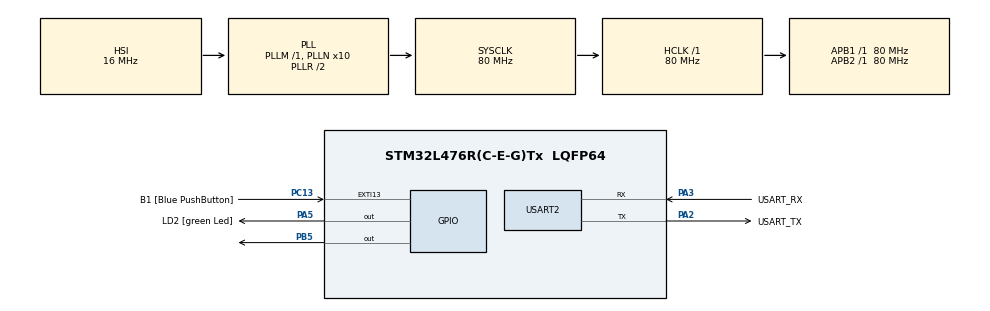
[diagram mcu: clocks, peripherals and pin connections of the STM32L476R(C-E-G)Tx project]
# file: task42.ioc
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FREERTOS.Events01=printDhtEvent,Dynamic,NULL;printDelay,Dynamic,NULL
FREERTOS.Tasks01=defaultTask,24,128,StartDefaultTask,Default,NULL,Dynamic,NULL,NULL;DhtTask,40,128,Entry_DhtTask,As external,NULL,Dynamic,NULL,NULL;delayTask,24,128,Entry_delayTask,As external,NULL,Dynamic,NULL,NULL;printTask,24,256,Entry_printTask,As external,NULL,Dynamic,NULL,NULL;blinkTask,24,128,Entry_blinkTask,As external,&ledB,Dynamic,NULL,NULL;delayTask2,24,128,Entry_delayTask2,As external,NULL,Dynamic,NULL,NULL;delayTask3,24,128,Entry_delayTask3,As external,NULL,Dynamic,NULL,NULL;printTask2,24,256,Entry_printTask2,As external,NULL,Dynamic,NULL,NULL
FREERTOS.configTOTAL_HEAP_SIZE=7000
Mcu.Family=STM32L4
Mcu.Name=STM32L476R(C-E-G)Tx
Mcu.Package=LQFP64
NVIC.PriorityGroup=NVIC_PRIORITYGROUP_4
NVIC.TIM1_UP_TIM16_IRQn=true\:15\:0\:false\:false\:true\:false\:false\:true\:true
NVIC.TimeBase=TIM1_UP_TIM16_IRQn
NVIC.TimeBaseIP=TIM16
PA13\ (JTMS-SWDIO).GPIO_Label=TMS
PA13\ (JTMS-SWDIO).Mode=Serial_Wire
PA13\ (JTMS-SWDIO).Signal=SYS_JTMS-SWDIO
PA14\ (JTCK-SWCLK).GPIO_Label=TCK
PA14\ (JTCK-SWCLK).Mode=Serial_Wire
PA14\ (JTCK-SWCLK).Signal=SYS_JTCK-SWCLK
PA2.GPIO_Label=USART_TX
PA2.GPIO_Mode=GPIO_MODE_AF_PP
PA2.GPIO_PuPd=GPIO_NOPULL
PA2.GPIO_Speed=GPIO_SPEED_FREQ_VERY_HIGH
PA2.Mode=Asynchronous
PA2.Signal=USART2_TX
PA3.GPIO_Label=USART_RX
PA3.GPIO_Mode=GPIO_MODE_AF_PP
PA3.GPIO_PuPd=GPIO_NOPULL
PA3.GPIO_Speed=GPIO_SPEED_FREQ_VERY_HIGH
PA3.Mode=Asynchronous
PA3.Signal=USART2_RX
PA5.GPIO_Label=LD2 [green Led]
PA5.GPIO_ModeDefaultOutputPP=GPIO_MODE_OUTPUT_PP
PA5.GPIO_PuPd=GPIO_NOPULL
PA5.GPIO_Speed=GPIO_SPEED_FREQ_LOW
PA5.Signal=GPIO_Output
PB3\ (JTDO-TRACESWO).GPIO_Label=SWO
PB3\ (JTDO-TRACESWO).Signal=SYS_JTDO-SWO
PB5.Signal=GPIO_Output
PC13.GPIO_Label=B1 [Blue PushButton]
PC13.GPIO_ModeDefaultEXTI=GPIO_MODE_IT_FALLING
PC13.GPIO_PuPd=GPIO_NOPULL
PC13.Signal=GPXTI13
PC14-OSC32_IN\ (PC14).Mode=LSE-External-Oscillator
PC14-OSC32_IN\ (PC14).Signal=RCC_OSC32_IN
PC15-OSC32_OUT\ (PC15).Mode=LSE-External-Oscillator
PC15-OSC32_OUT\ (PC15).Signal=RCC_OSC32_OUT
PH0-OSC_IN\ (PH0).Signal=RCC_OSC_IN
PH1-OSC_OUT\ (PH1).Signal=RCC_OSC_OUT
ProjectManager.HeapSize=0x200
ProjectManager.StackSize=0x400
ProjectManager.TargetToolchain=STM32CubeIDE
RCC.ADCFreq_Value=64000000
RCC.AHBFreq_Value=80000000
RCC.APB1Freq_Value=80000000
RCC.APB1TimFreq_Value=80000000
RCC.APB2Freq_Value=80000000
RCC.APB2TimFreq_Value=80000000
RCC.CortexFreq_Value=80000000
RCC.HCLKFreq_Value=80000000
RCC.HSE_VALUE=8000000
RCC.HSI_VALUE=16000000
RCC.MSI_VALUE=4000000
RCC.PLLN=10
RCC.PLLSourceVirtual=RCC_PLLSOURCE_HSI
RCC.PREFETCH_ENABLE=1
RCC.SYSCLKFreq_VALUE=80000000
RCC.SYSCLKSource=RCC_SYSCLKSOURCE_PLLCLK
RCC.USBFreq_Value=64000000
RCC.VCOOutputFreq_Value=160000000
TIM7.Prescaler=80
USART2.VirtualMode-Asynchronous=VM_ASYNC
VP_FREERTOS_VS_CMSIS_V2.Mode=CMSIS_V2
VP_SYS_VS_tim16.Mode=TIM16
VP_TIM7_VS_ClockSourceINT.Mode=Enable_Timer
board=NUCLEO-L476RG

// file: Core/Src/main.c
/* USER CODE BEGIN Header */
/**
  ******************************************************************************
  * @file           : main.c
  * @brief          : Main program body
  ******************************************************************************
  * @attention
  *
  * Copyright (c) 2022 STMicroelectronics.
  * All rights reserved.
  *
  * This software is licensed under terms that can be found in the LICENSE file
  * in the root directory of this software component.
  * If no LICENSE file comes with this software, it is provided AS-IS.
  *
  ******************************************************************************
  */
/* USER CODE END Header */
#include "main.h"
#include "cmsis_os.h"

/* USER CODE BEGIN Includes */
#include "Dht.h"
#include <stdio.h>
#include "Led.h"
/* USER CODE END Includes */

/* USER CODE BEGIN PTD */
Dht dht;
Led ledB;
extern double temperature;
extern double humidity;
#define FLAG_PRINT    0x00000001UL
#define FLAG_DHT      0x00000002UL

#define FLAG_DELAY1   0x00000001UL
#define FLAG_DELAY2   0x00000002UL
#define FLAG_DELAY3   0x00000004UL

/* USER CODE END PTD */

 TIM_HandleTypeDef htim7;

UART_HandleTypeDef huart2;

/* Definitions for defaultTask */
osThreadId_t defaultTaskHandle;
const osThreadAttr_t defaultTask_attributes = {
  .name = "defaultTask",
  .stack_size = 128 * 4,
  .priority = (osPriority_t) osPriorityNormal,
};
/* Definitions for DhtTask */
osThreadId_t DhtTaskHandle;
const osThreadAttr_t DhtTask_attributes = {
  .name = "DhtTask",
  .stack_size = 128 * 4,
  .priority = (osPriority_t) osPriorityHigh,
};
/* Definitions for delayTask */
osThreadId_t delayTaskHandle;
const osThreadAttr_t delayTask_attributes = {
  .name = "delayTask",
  .stack_size = 128 * 4,
  .priority = (osPriority_t) osPriorityNormal,
};
/* Definitions for printTask */
osThreadId_t printTaskHandle;
const osThreadAttr_t printTask_attributes = {
  .name = "printTask",
  .stack_size = 256 * 4,
  .priority = (osPriority_t) osPriorityNormal,
};
/* Definitions for blinkTask */
osThreadId_t blinkTaskHandle;
const osThreadAttr_t blinkTask_attributes = {
  .name = "blinkTask",
  .stack_size = 128 * 4,
  .priority = (osPriority_t) osPriorityNormal,
};
/* Definitions for delayTask2 */
osThreadId_t delayTask2Handle;
const osThreadAttr_t delayTask2_attributes = {
  .name = "delayTask2",
  .stack_size = 128 * 4,
  .priority = (osPriority_t) osPriorityNormal,
};
/* Definitions for delayTask3 */
osThreadId_t delayTask3Handle;
const osThreadAttr_t delayTask3_attributes = {
  .name = "delayTask3",
  .stack_size = 128 * 4,
  .priority = (osPriority_t) osPriorityNormal,
};
/* Definitions for printTask2 */
osThreadId_t printTask2Handle;
const osThreadAttr_t printTask2_attributes = {
  .name = "printTask2",
  .stack_size = 256 * 4,
  .priority = (osPriority_t) osPriorityNormal,
};
/* Definitions for printDhtEvent */
osEventFlagsId_t printDhtEventHandle;
const osEventFlagsAttr_t printDhtEvent_attributes = {
  .name = "printDhtEvent"
};
/* Definitions for printDelay */
osEventFlagsId_t printDelayHandle;
const osEventFlagsAttr_t printDelay_attributes = {
  .name = "printDelay"
};

void SystemClock_Config(void);
static void MX_GPIO_Init(void);
static void MX_USART2_UART_Init(void);
static void MX_TIM7_Init(void);
void StartDefaultTask(void *argument);
extern void Entry_DhtTask(void *argument);
extern void Entry_delayTask(void *argument);
extern void Entry_printTask(void *argument);
extern void Entry_blinkTask(void *argument);
extern void Entry_delayTask2(void *argument);
extern void Entry_delayTask3(void *argument);
extern void Entry_printTask2(void *argument);

/* USER CODE BEGIN 0 */

////////////////////////////////////////////////////////////////////////
int _write(int fd, char* ptr, int len)
{
	HAL_UART_Transmit(&huart2, (uint8_t*)ptr, len, HAL_MAX_DELAY);
	return len;
}
//////////////////////////////////////////////////////////////////////

void Entry_delayTask(void *argument)
{
  /* USER CODE BEGIN Entry_delayTask */
  /* Infinite loop */
  for(;;){
    osDelay(500);
    osEventFlagsSet(printDhtEventHandle, FLAG_DHT);
    osEventFlagsSet(printDelayHandle, FLAG_DELAY1);
  }
  /* USER CODE END Entry_delayTask */
}

//////////////////////////////////////////////////////////////////////

void Entry_delayTask2(void *argument)
{
  /* USER CODE BEGIN Entry_delayTask */
  /* Infinite loop */
  for(;;){
    osDelay(700);
    osEventFlagsSet(printDelayHandle, FLAG_DELAY2);
  }
  /* USER CODE END Entry_delayTask */
}

//////////////////////////////////////////////////////////////
void Entry_delayTask3(void *argument)
{
  /* USER CODE BEGIN Entry_delayTask */
  /* Infinite loop */
  for(;;){
    osDelay(1100);
    osEventFlagsSet(printDelayHandle, FLAG_DELAY3);
  }
  /* USER CODE END Entry_delayTask */
}

//////////////////////////////////////////////////////////////

void Entry_DhtTask(void *argument)
{
  /* USER CODE BEGIN Entry_DhtTask */
  /* Infinite loop */
  for(;;){
	osEventFlagsWait(printDhtEventHandle, FLAG_DHT, osFlagsWaitAll, osWaitForever);
	Dht_read(&dht);
	osEventFlagsSet(printDhtEventHandle, FLAG_PRINT);

  }
  /* USER CODE END Entry_DhtTask */
}
/////////////////////////////////////////////////////////////
void Entry_printTask(void *argument)
{
  /* USER CODE BEGIN Entry_printTask */
  /* Infinite loop */
  for(;;){
	osEventFlagsWait(printDhtEventHandle, FLAG_PRINT, osFlagsWaitAll, osWaitForever);
	//printf("temperature =%4.1f , humidity=%4.1f \r\n", Dht_getTempperature(&dht), Dht_getHumidty(&dht));
	osDelay(1);
  }
  /* USER CODE END Entry_printTask */
}
////////////////////////////////////////////////////////////

void Entry_printTask2(void *argument)
{
  /* USER CODE BEGIN Entry_printTask */
  /* Infinite loop */
  for(;;){
	osEventFlagsWait(printDelayHandle, FLAG_DELAY1 | FLAG_DELAY2 | FLAG_DELAY3, osFlagsWaitAll, osWaitForever);
	printf("osFlagsWaitAll time: %ld \r\n", HAL_GetTick() );
	osDelay(1);
  }
  /* USER CODE END Entry_printTask */
}
////////////////////////////////////////////////////////////

/* USER CODE END 0 */

int main(void)
{
  /* USER CODE BEGIN 1 */
	Dht_init(&dht, GPIOB, GPIO_PIN_5, &htim7);
	Led_init(&ledB , LD2_GPIO_Port , LD2_Pin );
  /* USER CODE END 1 */

  /* MCU Configuration--------------------------------------------------------*/

  /* Reset of all peripherals, Initializes the Flash interface and the Systick. */
  HAL_Init();

  /* Configure the system clock */
  SystemClock_Config();

  /* Initialize all configured peripherals */
  MX_GPIO_Init();
  MX_USART2_UART_Init();
  MX_TIM7_Init();

  /* Init scheduler */
  osKernelInitialize();

  /* Create the thread(s) */
  /* creation of defaultTask */
  defaultTaskHandle = osThreadNew(StartDefaultTask, NULL, &defaultTask_attributes);

  /* creation of DhtTask */
  DhtTaskHandle = osThreadNew(Entry_DhtTask, NULL, &DhtTask_attributes);

  /* creation of delayTask */
  delayTaskHandle = osThreadNew(Entry_delayTask, NULL, &delayTask_attributes);

  /* creation of printTask */
  printTaskHandle = osThreadNew(Entry_printTask, NULL, &printTask_attributes);

  /* creation of blinkTask */
  blinkTaskHandle = osThreadNew(Entry_blinkTask, (void*) &ledB, &blinkTask_attributes);

  /* creation of delayTask2 */
  delayTask2Handle = osThreadNew(Entry_delayTask2, NULL, &delayTask2_attributes);

  /* creation of delayTask3 */
  delayTask3Handle = osThreadNew(Entry_delayTask3, NULL, &delayTask3_attributes);

  /* creation of printTask2 */
  printTask2Handle = osThreadNew(Entry_printTask2, NULL, &printTask2_attributes);

  /* Create the event(s) */
  /* creation of printDhtEvent */
  printDhtEventHandle = osEventFlagsNew(&printDhtEvent_attributes);

  /* creation of printDelay */
  printDelayHandle = osEventFlagsNew(&printDelay_attributes);

  /* Start scheduler */
  osKernelStart();

  /* We should never get here as control is now taken by the scheduler */
  /* Infinite loop */
  while (1)
  {

  }
}

void SystemClock_Config(void)
{
  RCC_OscInitTypeDef RCC_OscInitStruct = {0};
  RCC_ClkInitTypeDef RCC_ClkInitStruct = {0};

  /** Configure the main internal regulator output voltage
  */
  if (HAL_PWREx_ControlVoltageScaling(PWR_REGULATOR_VOLTAGE_SCALE1) != HAL_OK)
  {
    Error_Handler();
  }

  /** Initializes the RCC Oscillators according to the specified parameters
  * in the RCC_OscInitTypeDef structure.
  */
  RCC_OscInitStruct.OscillatorType = RCC_OSCILLATORTYPE_HSI;
  RCC_OscInitStruct.HSIState = RCC_HSI_ON;
  RCC_OscInitStruct.HSICalibrationValue = RCC_HSICALIBRATION_DEFAULT;
  RCC_OscInitStruct.PLL.PLLState = RCC_PLL_ON;
  RCC_OscInitStruct.PLL.PLLSource = RCC_PLLSOURCE_HSI;
  RCC_OscInitStruct.PLL.PLLM = 1;
  RCC_OscInitStruct.PLL.PLLN = 10;
  RCC_OscInitStruct.PLL.PLLP = RCC_PLLP_DIV7;
  RCC_OscInitStruct.PLL.PLLQ = RCC_PLLQ_DIV2;
  RCC_OscInitStruct.PLL.PLLR = RCC_PLLR_DIV2;
  if (HAL_RCC_OscConfig(&RCC_OscInitStruct) != HAL_OK)
  {
    Error_Handler();
  }

  /** Initializes the CPU, AHB and APB buses clocks
  */
  RCC_ClkInitStruct.ClockType = RCC_CLOCKTYPE_HCLK|RCC_CLOCKTYPE_SYSCLK
                              |RCC_CLOCKTYPE_PCLK1|RCC_CLOCKTYPE_PCLK2;
  RCC_ClkInitStruct.SYSCLKSource = RCC_SYSCLKSOURCE_PLLCLK;
  RCC_ClkInitStruct.AHBCLKDivider = RCC_SYSCLK_DIV1;
  RCC_ClkInitStruct.APB1CLKDivider = RCC_HCLK_DIV1;
  RCC_ClkInitStruct.APB2CLKDivider = RCC_HCLK_DIV1;

  if (HAL_RCC_ClockConfig(&RCC_ClkInitStruct, FLASH_LATENCY_4) != HAL_OK)
  {
    Error_Handler();
  }
}

static void MX_TIM7_Init(void)
{

  TIM_MasterConfigTypeDef sMasterConfig = {0};

  htim7.Instance = TIM7;
  htim7.Init.Prescaler = 80;
  htim7.Init.CounterMode = TIM_COUNTERMODE_UP;
  htim7.Init.Period = 65535;
  htim7.Init.AutoReloadPreload = TIM_AUTORELOAD_PRELOAD_DISABLE;
  if (HAL_TIM_Base_Init(&htim7) != HAL_OK)
  {
    Error_Handler();
  }
  sMasterConfig.MasterOutputTrigger = TIM_TRGO_RESET;
  sMasterConfig.MasterSlaveMode = TIM_MASTERSLAVEMODE_DISABLE;
  if (HAL_TIMEx_MasterConfigSynchronization(&htim7, &sMasterConfig) != HAL_OK)
  {
    Error_Handler();
  }

}

static void MX_USART2_UART_Init(void)
{

  huart2.Instance = USART2;
  huart2.Init.BaudRate = 115200;
  huart2.Init.WordLength = UART_WORDLENGTH_8B;
  huart2.Init.StopBits = UART_STOPBITS_1;
  huart2.Init.Parity = UART_PARITY_NONE;
  huart2.Init.Mode = UART_MODE_TX_RX;
  huart2.Init.HwFlowCtl = UART_HWCONTROL_NONE;
  huart2.Init.OverSampling = UART_OVERSAMPLING_16;
  huart2.Init.OneBitSampling = UART_ONE_BIT_SAMPLE_DISABLE;
  huart2.AdvancedInit.AdvFeatureInit = UART_ADVFEATURE_NO_INIT;
  if (HAL_UART_Init(&huart2) != HAL_OK)
  {
    Error_Handler();
  }

}

static void MX_GPIO_Init(void)
{
  GPIO_InitTypeDef GPIO_InitStruct = {0};

  /* GPIO Ports Clock Enable */
  __HAL_RCC_GPIOC_CLK_ENABLE();
  __HAL_RCC_GPIOH_CLK_ENABLE();
  __HAL_RCC_GPIOA_CLK_ENABLE();
  __HAL_RCC_GPIOB_CLK_ENABLE();

  /*Configure GPIO pin Output Level */
  HAL_GPIO_WritePin(LD2_GPIO_Port, LD2_Pin, GPIO_PIN_RESET);

  /*Configure GPIO pin Output Level */
  HAL_GPIO_WritePin(GPIOB, GPIO_PIN_5, GPIO_PIN_RESET);

  /*Configure GPIO pin : B1_Pin */
  GPIO_InitStruct.Pin = B1_Pin;
  GPIO_InitStruct.Mode = GPIO_MODE_IT_FALLING;
  GPIO_InitStruct.Pull = GPIO_NOPULL;
  HAL_GPIO_Init(B1_GPIO_Port, &GPIO_InitStruct);

  /*Configure GPIO pin : LD2_Pin */
  GPIO_InitStruct.Pin = LD2_Pin;
  GPIO_InitStruct.Mode = GPIO_MODE_OUTPUT_PP;
  GPIO_InitStruct.Pull = GPIO_NOPULL;
  GPIO_InitStruct.Speed = GPIO_SPEED_FREQ_LOW;
  HAL_GPIO_Init(LD2_GPIO_Port, &GPIO_InitStruct);

  /*Configure GPIO pin : PB5 */
  GPIO_InitStruct.Pin = GPIO_PIN_5;
  GPIO_InitStruct.Mode = GPIO_MODE_OUTPUT_PP;
  GPIO_InitStruct.Pull = GPIO_NOPULL;
  GPIO_InitStruct.Speed = GPIO_SPEED_FREQ_LOW;
  HAL_GPIO_Init(GPIOB, &GPIO_InitStruct);

}

void StartDefaultTask(void *argument)
{
  for(;;)
  {
    osDelay(1);
  }
}

void HAL_TIM_PeriodElapsedCallback(TIM_HandleTypeDef *htim)
{
  if (htim->Instance == TIM16) {
    HAL_IncTick();
  }
}

void Error_Handler(void)
{
  __disable_irq();
  while (1)
  {
  }
}
